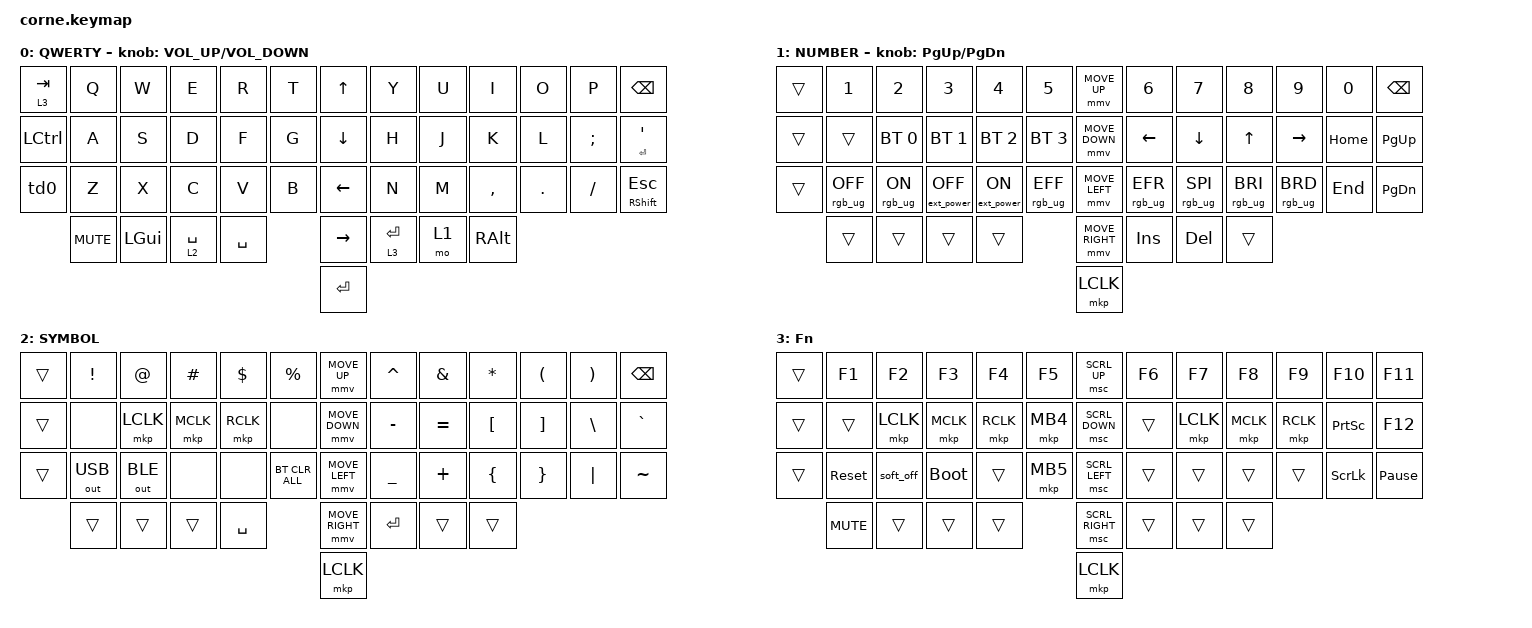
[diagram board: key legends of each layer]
#include <behaviors.dtsi>
#include <dt-bindings/zmk/bt.h>
#include <dt-bindings/zmk/ext_power.h>
#include <dt-bindings/zmk/keys.h>
#include <dt-bindings/zmk/mouse.h>
#include <dt-bindings/zmk/outputs.h>
#include <dt-bindings/zmk/rgb.h>

#define ZMK_MOUSE_DEFAULT_MOVE_VAL 1500  // 600
#define ZMK_MOUSE_DEFAULT_SCRL_VAL 15    // 10
#define U_MS_U &mmv MOVE_UP
#define U_MS_D &mmv MOVE_DOWN
#define U_MS_L &mmv MOVE_LEFT
#define U_MS_R &mmv MOVE_RIGHT
#define U_WH_U &msc SCRL_UP
#define U_WH_D &msc SCRL_DOWN
#define U_WH_L &msc SCRL_LEFT
#define U_WH_R &msc SCRL_RIGHT
/ {
    behaviors {
        td0: td0 {
            compatible = "zmk,behavior-tap-dance";
            label = "TD0";
            #binding-cells = <0>;
            bindings = <&kp LEFT_SHIFT>, <&kp CAPS>;
        };
        mmv {
            acceleration-exponent = <1>;      // 1
            time-to-max-speed-ms = <600>;    // 40
            delay-ms = <0>;                   // 0
        };
        msc {
            acceleration-exponent = <1>;      // 0
            time-to-max-speed-ms = <400>;      // 500
            delay-ms = <0>;                   // 10
        };
    };

    keymap {
        compatible = "zmk,keymap";

        default_layer {
            display-name = "QWERTY";

            // --------------------------------------------------------------------------------
            // |  TAB |  Q  |  W  |  E  |  R  |  T  |   |  Y  |  U   |  I  |  O  |  P  | BKSP |
            // | CTRL |  A  |  S  |  D  |  F  |  G  |   |  H  |  J   |  K  |  L  |  ;  |  '   | 
            // | SHFT |  Z  |  X  |  C  |  V  |  B  |   |  N  |  M   |  ,  |  .  |  /  | ESC  |
            //                    | GUI | LWR | SPC |   | ENT | RSE  | ALT |

            bindings = <
&lt 3 TAB     &kp Q    &kp W  &kp E     &kp R  &kp T                      &kp UP_ARROW          &kp Y        &kp U    &kp I       &kp O    &kp P     &kp BSPC
&kp LCTRL     &kp A    &kp S  &kp D     &kp F  &kp G                      &kp DOWN_ARROW        &kp H        &kp J    &kp K       &kp L    &kp SEMI  &mt ENTER SQT
&td0          &kp Z    &kp X  &kp C     &kp V  &kp B                      &kp LEFT_ARROW        &kp N        &kp M    &kp COMMA   &kp DOT  &kp FSLH  &mt RSHFT ESC
              &kp C_MUTE      &kp LGUI  &lt 2 SPACE  &kp SPACE            &kp RIGHT_ARROW       &lt 3 ENTER  &mo 1    &kp RALT
                                                                          &kp ENTER
            >;
 label = "QWERTY";
            sensor-bindings = <&inc_dec_kp C_VOLUME_UP C_VOLUME_DOWN>;
        };

        lower_layer {
            display-name = "NUMBER";

            // -----------------------------------------------------------------------------------------
            // |  TAB |  1  |  2  |  3  |  4  |  5  |   |  6  |  7  |  8  |  9  |  0  | BKSP |
            // | BTCLR| BT1 | BT2 | BT3 | BT4 | BT5 |   | LFT | DWN |  UP | RGT |     |      |
            // | SHFT |     |     |     |     |     |   |     |     |     |     |     |      |
            //                    | GUI |     | SPC |   | ENT |     | ALT |

            bindings = <
&trans  &kp N1           &kp N2          &kp N3             &kp N4            &kp N5                 &mmv MOVE_UP          &kp N6           &kp N7           &kp N8           &kp N9           &kp N0    &kp BSPC
&trans  &trans           &bt BT_SEL 0    &bt BT_SEL 1       &bt BT_SEL 2      &bt BT_SEL 3           &mmv MOVE_DOWN        &kp LEFT         &kp DOWN         &kp UP           &kp RIGHT        &kp HOME  &kp PG_UP
&trans  &rgb_ug RGB_OFF  &rgb_ug RGB_ON  &ext_power EP_OFF  &ext_power EP_ON  &rgb_ug RGB_EFF        &mmv MOVE_LEFT        &rgb_ug RGB_EFR  &rgb_ug RGB_SPI  &rgb_ug RGB_BRI  &rgb_ug RGB_BRD  &kp END   &kp PG_DN
                         &trans          &trans             &trans            &trans                 &mmv MOVE_RIGHT       &kp INS          &kp DEL          &trans
                                                                                                     &mkp LCLK 
            >;

            label = "NUMBER";
            sensor-bindings = <&inc_dec_kp  PG_UP PG_DN>;
        };

        raise_layer {
            display-name = "SYMBOL";

            // -----------------------------------------------------------------------------------------
            // |  TAB |  !  |  @  |  #  |  $  |  %  |   |  ^  |  &  |  *  |  (  |  )  | BKSP |
            // | CTRL |     |     |     |     |     |   |  -  |  =  |  [  |  ]  |  \  |  `   |
            // | SHFT |     |     |     |     |     |   |  _  |  +  |  {  |  }  | "|" |  ~   |
            //                    | GUI |     | SPC |   | ENT |     | ALT |

            bindings = <
&trans  &kp EXCL      &kp AT        &kp HASH     &kp DLLR    &kp PRCNT             &mmv MOVE_UP     &kp CARET  &kp AMPS   &kp ASTRK  &kp LPAR  &kp RPAR  &kp BSPC
&trans  &none         &mkp LCLK     &mkp MCLK    &mkp RCLK   &none                 &mmv MOVE_DOWN   &kp MINUS  &kp EQUAL  &kp LBKT   &kp RBKT  &kp BSLH  &kp GRAVE
&trans  &out OUT_USB  &out OUT_BLE  &none        &none       &bt BT_CLR_ALL        &mmv MOVE_LEFT   &kp UNDER  &kp PLUS   &kp LBRC   &kp RBRC  &kp PIPE  &kp TILDE
                      &trans        &trans       &trans      &kp SPACE             &mmv MOVE_RIGHT  &kp RET    &trans     &trans
                                                                              &mkp LCLK    
            >;
        };

        layer_3 {
            display-name = "Fn";
            bindings = <
&trans  &kp F1      &kp F2      &kp F3       &kp F4     &kp F5      &msc SCRL_UP     &kp F6       &kp F7     &kp F8       &kp F9      &kp F10          &kp F11
&trans  &trans      &mkp LCLK   &mkp MCLK    &mkp RCLK  &mkp MB4    &msc SCRL_DOWN   &trans       &mkp LCLK  &mkp MCLK    &mkp RCLK   &kp PRINTSCREEN  &kp F12
&trans  &sys_reset  &soft_off   &bootloader  &trans     &mkp MB5    &msc SCRL_LEFT   &trans       &trans     &trans       &trans      &kp SCROLLLOCK   &kp PAUSE_BREAK
                    &kp C_MUTE  &trans       &trans     &trans      &msc SCRL_RIGHT  &trans       &trans     &trans
                                                                    &mkp LCLK
            >;
        };
    };
};
